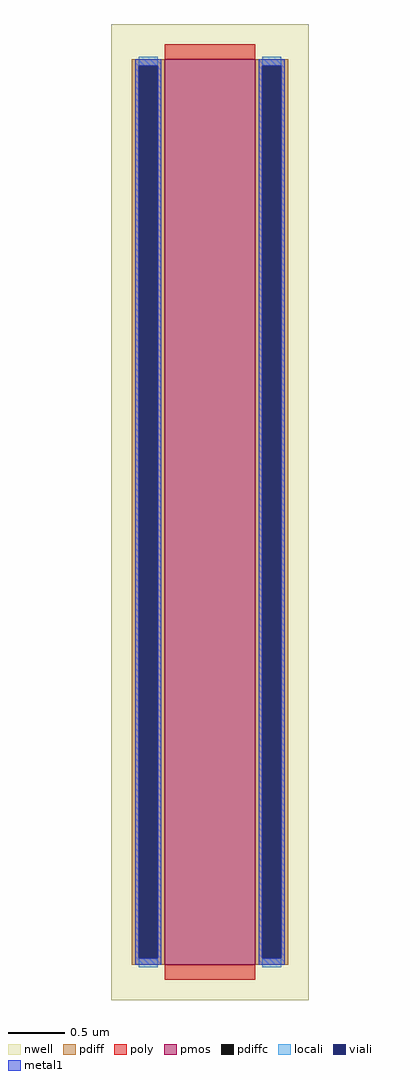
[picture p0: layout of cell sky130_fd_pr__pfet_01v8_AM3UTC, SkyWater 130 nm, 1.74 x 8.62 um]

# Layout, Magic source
magic
tech sky130A
<< nwell >>
rect -87 -431 87 431
<< pmos >>
rect -40 -400 40 400
<< pdiff >>
rect -69 394 -40 400
rect -69 -394 -63 394
rect -46 -394 -40 394
rect -69 -400 -40 -394
rect 40 394 69 400
rect 40 -394 46 394
rect 63 -394 69 394
rect 40 -400 69 -394
<< pdiffc >>
rect -63 -394 -46 394
rect 46 -394 63 394
<< poly >>
rect -40 400 40 413
rect -40 -413 40 -400
<< locali >>
rect -63 394 -46 402
rect -63 -402 -46 -394
rect 46 394 63 402
rect 46 -402 63 -394
<< viali >>
rect -63 -394 -46 394
rect 46 -394 63 394
<< metal1 >>
rect -66 394 -43 400
rect -66 -394 -63 394
rect -46 -394 -43 394
rect -66 -400 -43 -394
rect 43 394 66 400
rect 43 -394 46 394
rect 63 -394 66 394
rect 43 -400 66 -394
<< properties >>
string gencell sky130_fd_pr__pfet_01v8
string library sky130
string parameters w 8 l 0.8 m 1 nf 1 diffcov 100 polycov 100 guard 0 glc 0 grc 0 gtc 0 gbc 0 tbcov 100 rlcov 100 topc 0 botc 0 poverlap 0 doverlap 0 lmin 0.15 wmin 0.42 compatible {sky130_fd_pr__pfet_01v8  sky130_fd_pr__pfet_01v8_lvt sky130_fd_pr__pfet_01v8_hvt  sky130_fd_pr__pfet_g5v0d10v5} full_metal 0 viasrc 100 viadrn 100 viagate 100 viagb 0 viagr 0 viagl 0 viagt 0
<< end >>
